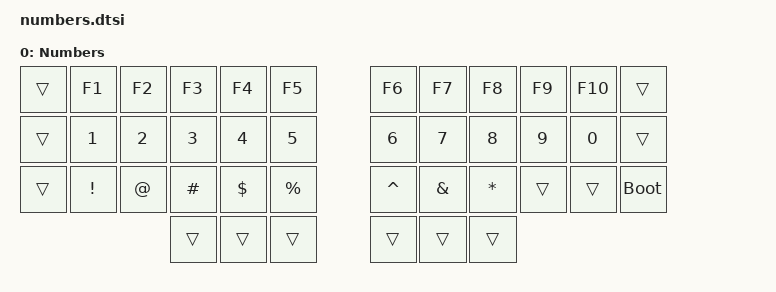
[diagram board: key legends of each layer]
/ {
  keymap {
    compatible = "zmk,keymap";
    Numbers {
        label = "Numbers";
        bindings =
         <&trans  &kp F1        &kp F2        &kp F3        &kp F4        &kp F5          &kp F6        &kp F7         &kp F8        &kp F9        &kp F10       &trans
          &trans  &kp NUMBER_1  &kp NUMBER_2  &kp NUMBER_3  &kp NUMBER_4  &kp NUMBER_5    &kp NUMBER_6  &kp NUMBER_7   &kp NUMBER_8  &kp NUMBER_9  &kp NUMBER_0  &trans
          &trans  &kp EXCL      &kp AT        &kp POUND     &kp DOLLAR    &kp PERCENT     &kp CARET     &kp AMPERSAND  &kp ASTERISK  &trans        &trans        &bootloader
                                              &trans        &trans        &trans          &trans        &trans         &trans>;
    };
  };
};
